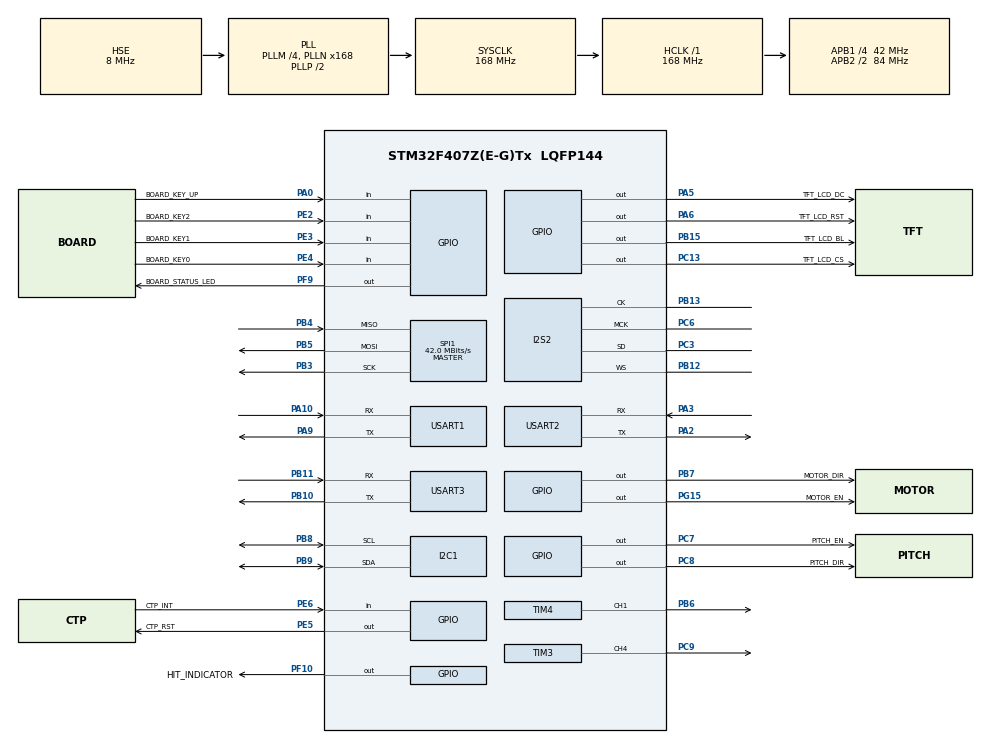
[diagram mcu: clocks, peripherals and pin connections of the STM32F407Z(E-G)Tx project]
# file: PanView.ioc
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Dma.Request0=USART1_RX
Dma.Request1=USART2_RX
Dma.Request2=SPI2_TX
Dma.SPI2_TX.2.Direction=DMA_MEMORY_TO_PERIPH
Dma.SPI2_TX.2.FIFOMode=DMA_FIFOMODE_DISABLE
Dma.SPI2_TX.2.Instance=DMA1_Stream4
Dma.SPI2_TX.2.MemDataAlignment=DMA_MDATAALIGN_HALFWORD
Dma.SPI2_TX.2.MemInc=DMA_MINC_ENABLE
Dma.SPI2_TX.2.Mode=DMA_NORMAL
Dma.SPI2_TX.2.PeriphDataAlignment=DMA_PDATAALIGN_HALFWORD
Dma.SPI2_TX.2.PeriphInc=DMA_PINC_DISABLE
Dma.SPI2_TX.2.Priority=DMA_PRIORITY_HIGH
Dma.USART1_RX.0.Direction=DMA_PERIPH_TO_MEMORY
Dma.USART1_RX.0.FIFOMode=DMA_FIFOMODE_DISABLE
Dma.USART1_RX.0.Instance=DMA2_Stream2
Dma.USART1_RX.0.MemDataAlignment=DMA_MDATAALIGN_BYTE
Dma.USART1_RX.0.MemInc=DMA_MINC_ENABLE
Dma.USART1_RX.0.Mode=DMA_NORMAL
Dma.USART1_RX.0.PeriphDataAlignment=DMA_PDATAALIGN_BYTE
Dma.USART1_RX.0.PeriphInc=DMA_PINC_DISABLE
Dma.USART1_RX.0.Priority=DMA_PRIORITY_LOW
Dma.USART2_RX.1.Direction=DMA_PERIPH_TO_MEMORY
Dma.USART2_RX.1.FIFOMode=DMA_FIFOMODE_DISABLE
Dma.USART2_RX.1.Instance=DMA1_Stream5
Dma.USART2_RX.1.MemDataAlignment=DMA_MDATAALIGN_BYTE
Dma.USART2_RX.1.MemInc=DMA_MINC_ENABLE
Dma.USART2_RX.1.Mode=DMA_NORMAL
Dma.USART2_RX.1.PeriphDataAlignment=DMA_PDATAALIGN_BYTE
Dma.USART2_RX.1.PeriphInc=DMA_PINC_DISABLE
Dma.USART2_RX.1.Priority=DMA_PRIORITY_LOW
FREERTOS.Tasks01=ArchitectureHea,24,256,StartDefaultTask,Default,NULL,Dynamic,NULL,NULL;SafetyTask,40,256,StartSafetyTask,Default,NULL,Dynamic,NULL,NULL;StepperTask,32,384,StartStepperTask,Default,NULL,Dynamic,NULL,NULL;VisionRxTask,32,512,StartVisionRxTask,Default,NULL,Dynamic,NULL,NULL;MotionTask,32,384,StartMotionTask,Default,NULL,Dynamic,NULL,NULL;InputTask,24,320,StartInputTask,Default,NULL,Dynamic,NULL,NULL;AppControlTask,24,320,StartAppControlTask,Default,NULL,Dynamic,NULL,NULL;UiTask,16,768,StartUiTask,Default,NULL,Dynamic,NULL,NULL;AudioTask,16,512,StartAudioTask,Default,NULL,Dynamic,NULL,NULL;TelemetryTask,8,512,StartTelemetryTask,Default,NULL,Dynamic,NULL,NULL
FREERTOS.configTOTAL_HEAP_SIZE=32768
I2S2.AudioFreq=I2S_AUDIOFREQ_48K
I2S2.ErrorAudioFreq=-2.34 %
I2S2.FullDuplexMode=I2S_FULLDUPLEXMODE_DISABLE
I2S2.Instance=SPI$Index
I2S2.RealAudioFreq=46.875 KHz
I2S2.VirtualMode=I2S_MODE_MASTER
Mcu.Family=STM32F4
Mcu.Name=STM32F407Z(E-G)Tx
Mcu.Package=LQFP144
NVIC.DMA1_Stream4_IRQn=true\:5\:0\:false\:false\:true\:true\:false\:true\:true
NVIC.DMA1_Stream5_IRQn=true\:5\:0\:false\:false\:true\:true\:false\:true\:true
NVIC.DMA2_Stream2_IRQn=true\:5\:0\:false\:false\:true\:true\:false\:true\:true
NVIC.PriorityGroup=NVIC_PRIORITYGROUP_4
NVIC.TIM3_IRQn=true\:5\:0\:false\:false\:true\:true\:true\:true\:true
NVIC.TIM4_IRQn=true\:5\:0\:false\:false\:true\:true\:true\:true\:true
NVIC.USART1_IRQn=true\:5\:0\:false\:false\:true\:true\:true\:true\:true
NVIC.USART2_IRQn=true\:5\:0\:false\:false\:true\:true\:true\:true\:true
PA0-WKUP.GPIO_Label=BOARD_KEY_UP
PA0-WKUP.GPIO_PuPd=GPIO_PULLDOWN
PA0-WKUP.Signal=GPIO_Input
PA10.Mode=Asynchronous
PA10.Signal=USART1_RX
PA13.Mode=Serial_Wire
PA13.Signal=SYS_JTMS-SWDIO
PA14.Mode=Serial_Wire
PA14.Signal=SYS_JTCK-SWCLK
PA2.Mode=Asynchronous
PA2.Signal=USART2_TX
PA3.GPIO_PuPd=GPIO_PULLUP
PA3.Mode=Asynchronous
PA3.Signal=USART2_RX
PA5.GPIO_Label=TFT_LCD_DC
PA5.GPIO_Speed=GPIO_SPEED_FREQ_HIGH
PA5.PinState=GPIO_PIN_SET
PA5.Signal=GPIO_Output
PA6.GPIO_Label=TFT_LCD_RST
PA6.GPIO_Speed=GPIO_SPEED_FREQ_HIGH
PA6.PinState=GPIO_PIN_SET
PA6.Signal=GPIO_Output
PA9.Mode=Asynchronous
PA9.Signal=USART1_TX
PB10.Mode=Asynchronous
PB10.Signal=USART3_TX
PB11.Mode=Asynchronous
PB11.Signal=USART3_RX
PB12.Mode=Half_Duplex_Master
PB12.Signal=I2S2_WS
PB13.Mode=Half_Duplex_Master
PB13.Signal=I2S2_CK
PB15.GPIO_Label=TFT_LCD_BL
PB15.GPIO_Speed=GPIO_SPEED_FREQ_HIGH
PB15.PinState=GPIO_PIN_SET
PB15.Signal=GPIO_Output
PB3.Mode=Full_Duplex_Master
PB3.Signal=SPI1_SCK
PB4.Mode=Full_Duplex_Master
PB4.Signal=SPI1_MISO
PB5.Mode=Full_Duplex_Master
PB5.Signal=SPI1_MOSI
PB6.Signal=S_TIM4_CH1
PB7.GPIO_Label=MOTOR_DIR
PB7.GPIO_Speed=GPIO_SPEED_FREQ_HIGH
PB7.Signal=GPIO_Output
PB8.Mode=I2C
PB8.Signal=I2C1_SCL
PB9.Mode=I2C
PB9.Signal=I2C1_SDA
PC13-ANTI_TAMP.GPIO_Label=TFT_LCD_CS
PC13-ANTI_TAMP.PinState=GPIO_PIN_SET
PC13-ANTI_TAMP.Signal=GPIO_Output
PC3.Mode=Half_Duplex_Master
PC3.Signal=I2S2_SD
PC6.Mode=Master_Clock_Activated
PC6.Signal=I2S2_MCK
PC7.GPIO_Label=PITCH_EN
PC7.GPIO_Speed=GPIO_SPEED_FREQ_HIGH
PC7.Signal=GPIO_Output
PC8.GPIO_Label=PITCH_DIR
PC8.GPIO_Speed=GPIO_SPEED_FREQ_HIGH
PC8.Signal=GPIO_Output
PC9.Signal=S_TIM3_CH4
PE2.GPIO_Label=BOARD_KEY2
PE2.GPIO_PuPd=GPIO_PULLUP
PE2.Signal=GPIO_Input
PE3.GPIO_Label=BOARD_KEY1
PE3.GPIO_PuPd=GPIO_PULLUP
PE3.Signal=GPIO_Input
PE4.GPIO_Label=BOARD_KEY0
PE4.GPIO_PuPd=GPIO_PULLUP
PE4.Signal=GPIO_Input
PE5.GPIO_Label=CTP_RST
PE5.PinState=GPIO_PIN_SET
PE5.Signal=GPIO_Output
PE6.GPIO_Label=CTP_INT
PE6.GPIO_PuPd=GPIO_PULLUP
PE6.Signal=GPIO_Input
PF10.GPIO_Label=HIT_INDICATOR
PF10.GPIO_Speed=GPIO_SPEED_FREQ_MEDIUM
PF10.Signal=GPIO_Output
PF9.GPIO_Label=BOARD_STATUS_LED
PF9.GPIO_Speed=GPIO_SPEED_FREQ_HIGH
PF9.PinState=GPIO_PIN_SET
PF9.Signal=GPIO_Output
PG15.GPIO_Label=MOTOR_EN
PG15.GPIO_Speed=GPIO_SPEED_FREQ_HIGH
PG15.Signal=GPIO_Output
PH0-OSC_IN.Mode=HSE-External-Oscillator
PH0-OSC_IN.Signal=RCC_OSC_IN
PH1-OSC_OUT.Mode=HSE-External-Oscillator
PH1-OSC_OUT.Signal=RCC_OSC_OUT
ProjectManager.HeapSize=0x200
ProjectManager.StackSize=0x400
ProjectManager.TargetToolchain=CMake
RCC.48MHZClocksFreq_Value=84000000
RCC.AHBFreq_Value=168000000
RCC.APB1CLKDivider=RCC_HCLK_DIV4
RCC.APB1Freq_Value=42000000
RCC.APB1TimFreq_Value=84000000
RCC.APB2CLKDivider=RCC_HCLK_DIV2
RCC.APB2Freq_Value=84000000
RCC.APB2TimFreq_Value=168000000
RCC.CortexFreq_Value=168000000
RCC.HCLKFreq_Value=168000000
RCC.HSE_VALUE=8000000
RCC.HSI_VALUE=16000000
RCC.LSE_VALUE=32768
RCC.PLLM=4
RCC.PLLN=168
RCC.PLLSourceVirtual=RCC_PLLSOURCE_HSE
RCC.SYSCLKFreq_VALUE=168000000
RCC.SYSCLKSource=RCC_SYSCLKSOURCE_PLLCLK
RCC.VCOOutputFreq_Value=336000000
SH.S_TIM3_CH4.0=TIM3_CH4,PWM Generation4 CH4
SH.S_TIM4_CH1.0=TIM4_CH1,PWM Generation1 CH1
SPI1.CalculateBaudRate=42.0 MBits/s
SPI1.Direction=SPI_DIRECTION_2LINES
SPI1.Mode=SPI_MODE_MASTER
SPI1.VirtualType=VM_MASTER
TIM3.Channel-PWM\ Generation4\ CH4=TIM_CHANNEL_4
TIM3.Period=9
TIM3.Prescaler=16799
TIM3.Pulse-PWM\ Generation4\ CH4=5
TIM4.Channel-PWM\ Generation1\ CH1=TIM_CHANNEL_1
TIM4.Period=9
TIM4.Prescaler=16799
TIM4.Pulse-PWM\ Generation1\ CH1=5
USART1.VirtualMode=VM_ASYNC
USART2.VirtualMode=VM_ASYNC
USART3.VirtualMode=VM_ASYNC
VP_FREERTOS_VS_CMSIS_V2.Mode=CMSIS_V2
VP_TIM4_VS_ClockSourceINT.Mode=Internal
board=custom

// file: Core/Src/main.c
/* USER CODE BEGIN Header */
/**
  ******************************************************************************
  * @file           : main.c
  * @brief          : Main program body
  ******************************************************************************
  * @attention
  *
  * Copyright (c) 2026 STMicroelectronics.
  * All rights reserved.
  *
  * This software is licensed under terms that can be found in the LICENSE file
  * in the root directory of this software component.
  * If no LICENSE file comes with this software, it is provided AS-IS.
  *
  ******************************************************************************
  */
/* USER CODE END Header */
#include "main.h"
#include "es8388.h"
#include "audio_player.h"
#include "cmsis_os.h"
#include "dma.h"
#include "i2c.h"
#include "i2s.h"
#include "iwdg.h"
#include "spi.h"
#include "tim.h"
#include "usart.h"
#include "gpio.h"
#include "ili9341.h"

void SystemClock_Config(void);
void MX_FREERTOS_Init(void);

int main(void)
{

  /* MCU Configuration--------------------------------------------------------*/

  /* Reset of all peripherals, Initializes the Flash interface and the Systick. */
  HAL_Init();

  /* Configure the system clock */
  SystemClock_Config();

  /* Initialize all configured peripherals */
  MX_GPIO_Init();
  MX_DMA_Init();
  MX_USART1_UART_Init();
  MX_USART2_UART_Init();
  MX_USART3_UART_Init();
  MX_I2C1_Init();
  MX_I2S2_Init();
  /* 音频链路需要先初始化 ES8388，再由 AudioTask 播放采样数据。 */
  AudioPlayer_Init();
  (void)Es8388_Probe();
  (void)Es8388_InitPlayback();
  MX_SPI1_Init();
  MX_TIM4_Init();
  MX_TIM3_Init();
  MX_IWDG_Init();
  /* USER CODE BEGIN 2 */

  /* T10-2 屏幕硬件冒烟测试：初始化 ILI9341 并填充蓝色背景。 */
  if (ILI9341_Init())
  {
    ILI9341_FillColor(ILI9341_COLOR_BLUE);
  }

  /* USER CODE END 2 */

  /* Init scheduler */
  osKernelInitialize();  /* Call init function for freertos objects (in cmsis_os2.c) */
  MX_FREERTOS_Init();

  /* Start scheduler */
  osKernelStart();

  /* We should never get here as control is now taken by the scheduler */

  /* Infinite loop */
  while (1)
  {

  }
}

void SystemClock_Config(void)
{
  RCC_OscInitTypeDef RCC_OscInitStruct = {0};
  RCC_ClkInitTypeDef RCC_ClkInitStruct = {0};

  /** Configure the main internal regulator output voltage
  */
  __HAL_RCC_PWR_CLK_ENABLE();
  __HAL_PWR_VOLTAGESCALING_CONFIG(PWR_REGULATOR_VOLTAGE_SCALE1);

  /** Initializes the RCC Oscillators according to the specified parameters
  * in the RCC_OscInitTypeDef structure.
  */
  RCC_OscInitStruct.OscillatorType = RCC_OSCILLATORTYPE_LSI|RCC_OSCILLATORTYPE_HSE;
  RCC_OscInitStruct.HSEState = RCC_HSE_ON;
  RCC_OscInitStruct.LSIState = RCC_LSI_ON;
  RCC_OscInitStruct.PLL.PLLState = RCC_PLL_ON;
  RCC_OscInitStruct.PLL.PLLSource = RCC_PLLSOURCE_HSE;
  RCC_OscInitStruct.PLL.PLLM = 4;
  RCC_OscInitStruct.PLL.PLLN = 168;
  RCC_OscInitStruct.PLL.PLLP = RCC_PLLP_DIV2;
  RCC_OscInitStruct.PLL.PLLQ = 4;
  if (HAL_RCC_OscConfig(&RCC_OscInitStruct) != HAL_OK)
  {
    Error_Handler();
  }

  /** Initializes the CPU, AHB and APB buses clocks
  */
  RCC_ClkInitStruct.ClockType = RCC_CLOCKTYPE_HCLK|RCC_CLOCKTYPE_SYSCLK
                              |RCC_CLOCKTYPE_PCLK1|RCC_CLOCKTYPE_PCLK2;
  RCC_ClkInitStruct.SYSCLKSource = RCC_SYSCLKSOURCE_PLLCLK;
  RCC_ClkInitStruct.AHBCLKDivider = RCC_SYSCLK_DIV1;
  RCC_ClkInitStruct.APB1CLKDivider = RCC_HCLK_DIV4;
  RCC_ClkInitStruct.APB2CLKDivider = RCC_HCLK_DIV2;

  if (HAL_RCC_ClockConfig(&RCC_ClkInitStruct, FLASH_LATENCY_5) != HAL_OK)
  {
    Error_Handler();
  }
}

void Error_Handler(void)
{
  __disable_irq();
  while (1)
  {
  }
}

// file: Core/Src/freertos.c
/* USER CODE BEGIN Header */
/**
  ******************************************************************************
  * File Name          : freertos.c
  * Description        : Code for freertos applications
  ******************************************************************************
  * @attention
  *
  * Copyright (c) 2026 STMicroelectronics.
  * All rights reserved.
  *
  * This software is licensed under terms that can be found in the LICENSE file
  * in the root directory of this software component.
  * If no LICENSE file comes with this software, it is provided AS-IS.
  *
  ******************************************************************************
  */
/* USER CODE END Header */

#include "FreeRTOS.h"
#include "task.h"
#include "main.h"
#include "cmsis_os.h"

/* USER CODE BEGIN Includes */

/* 本区域用途：添加本 freertos.c 需要使用的头文件。 */

#include "panview_task_heartbeat.h"
#include "panview_messages.h"
#include "panview_message_bus.h"
#include "panview_uart_rx.h"
#include "panview_text_line.h"
#include "panview_pv04_parser.h"
#include "panview_motion.h"
#include "panview_stepper.h"
#include "panview_safety.h"
#include "panview_safety_test.h"
#include "ili9341.h"
#include "panview_ui.h"
#include "ft6336g.h"
#include "audio_player.h"
#include "panview_telemetry.h"
#include "tim.h"
#include "iwdg.h"
#include "usart.h"
#include <stdio.h>
#include <string.h>

/* 栈溢出时由 FreeRTOS 钩子写入，调试器可直接查看。 */
volatile uint32_t panview_stack_overflow_marker = 0U;
volatile const char *panview_stack_overflow_task_name = 0;

/* MotionTask 写入、UiTask 读取的最新视觉显示数据。 */
volatile uint8_t panview_ui_target_present = 0U;
volatile int16_t panview_ui_error_x_px = 0;
volatile int16_t panview_ui_error_y_px = 0;

/* USER CODE END Includes */

/* USER CODE BEGIN PTD */

/* 本区域用途：定义本文件使用的类型、枚举和结构体。 */

/* USER CODE END PTD */

/* USER CODE BEGIN PD */

/* 本区域用途：定义宏、周期、容量和其他编译期常量。 */

/* 架构心跳任务每次运行之间的等待时间，单位：毫秒。 */
#define ARCHITECTURE_HEARTBEAT_PERIOD_MS (500U)

/* 安全任务的计划周期，单位：RTOS tick。当前 10 tick 等于 10 ms。 */
#define SAFETY_TASK_PERIOD_TICKS (10U)

/* 视觉接收任务的骨架运行周期，单位：RTOS tick。 */
#define VISION_RX_TASK_PERIOD_TICKS (10U)

/* 运动任务的骨架运行周期，单位：RTOS tick。 */
#define MOTION_TASK_PERIOD_TICKS (10U)
#define CONTROL_TASK_TIMEOUT_MS (200U)

/* 步进执行任务的骨架运行周期，单位：RTOS tick。 */
#define STEPPER_TASK_PERIOD_TICKS (10U)

/* 输入任务的骨架运行周期，单位：RTOS tick。当前 20 tick 等于 20 ms。 */
#define INPUT_TASK_PERIOD_TICKS (20U)

/* 应用控制任务的骨架运行周期，单位：RTOS tick。 */
#define APP_CONTROL_TASK_PERIOD_TICKS (20U)

/* UI 任务的骨架运行周期，单位：RTOS tick。当前 100 tick 等于 100 ms。 */
#define UI_TASK_PERIOD_TICKS (100U)

/* 音频指示任务的骨架运行周期，单位：RTOS tick。 */
#define AUDIO_TASK_PERIOD_TICKS (100U)

/* 遥测任务的骨架运行周期，单位：RTOS tick。当前 500 tick 等于 500 ms。 */
#define TELEMETRY_TASK_PERIOD_TICKS (500U)

/* USER CODE END PD */

/* USER CODE BEGIN PM */

/* 本区域用途：定义本文件专用的宏函数。当前任务暂时不需要新增内容。 */

/* USER CODE END PM */

/* USER CODE BEGIN Variables */

/* 本区域用途：定义本文件使用的全局或静态状态变量。 */

/* 记录最近一次检查到的 FreeRTOS 剩余堆空间，单位：字节。 */
static volatile size_t telemetry_free_heap_bytes;

/* 系统事件标志组的句柄，用于保存后续的故障和紧急状态。 */
static osEventFlagsId_t SystemEventFlagsHandle;

/* 系统事件标志组的创建属性。 */
static const osEventFlagsAttr_t SystemEventFlags_attributes = {
  .name = "SystemEventFlags"
};

/* USER CODE END Variables */
/* Definitions for ArchitectureHea */
osThreadId_t ArchitectureHeaHandle;
const osThreadAttr_t ArchitectureHea_attributes = {
  .name = "ArchitectureHea",
  .stack_size = 256 * 4,
  .priority = (osPriority_t) osPriorityNormal,
};
/* Definitions for SafetyTask */
osThreadId_t SafetyTaskHandle;
const osThreadAttr_t SafetyTask_attributes = {
  .name = "SafetyTask",
  .stack_size = 256 * 4,
  .priority = (osPriority_t) osPriorityHigh,
};
/* Definitions for StepperTask */
osThreadId_t StepperTaskHandle;
const osThreadAttr_t StepperTask_attributes = {
  .name = "StepperTask",
  .stack_size = 384 * 4,
  .priority = (osPriority_t) osPriorityAboveNormal,
};
/* Definitions for VisionRxTask */
osThreadId_t VisionRxTaskHandle;
const osThreadAttr_t VisionRxTask_attributes = {
  .name = "VisionRxTask",
  .stack_size = 1024 * 4,
  .priority = (osPriority_t) osPriorityAboveNormal,
};
/* Definitions for MotionTask */
osThreadId_t MotionTaskHandle;
const osThreadAttr_t MotionTask_attributes = {
  .name = "MotionTask",
  .stack_size = 384 * 4,
  .priority = (osPriority_t) osPriorityAboveNormal,
};
/* Definitions for InputTask */
osThreadId_t InputTaskHandle;
const osThreadAttr_t InputTask_attributes = {
  .name = "InputTask",
  .stack_size = 320 * 4,
  .priority = (osPriority_t) osPriorityNormal,
};
/* Definitions for AppControlTask */
osThreadId_t AppControlTaskHandle;
const osThreadAttr_t AppControlTask_attributes = {
  .name = "AppControlTask",
  .stack_size = 320 * 4,
  .priority = (osPriority_t) osPriorityNormal,
};
/* Definitions for UiTask */
osThreadId_t UiTaskHandle;
const osThreadAttr_t UiTask_attributes = {
  .name = "UiTask",
  .stack_size = 768 * 4,
  .priority = (osPriority_t) osPriorityBelowNormal,
};
/* Definitions for AudioTask */
osThreadId_t AudioTaskHandle;
const osThreadAttr_t AudioTask_attributes = {
  .name = "AudioTask",
  .stack_size = 512 * 4,
  .priority = (osPriority_t) osPriorityBelowNormal,
};
/* Definitions for TelemetryTask */
osThreadId_t TelemetryTaskHandle;
const osThreadAttr_t TelemetryTask_attributes = {
  .name = "TelemetryTask",
  .stack_size = 512 * 4,
  .priority = (osPriority_t) osPriorityLow,
};

/* USER CODE BEGIN FunctionPrototypes */

/* 本区域用途：声明本文件中由后文实现的静态函数。 */
static void ArchitectureHeartbeat_RunOnce(void);

/* USER CODE END FunctionPrototypes */

void StartDefaultTask(void *argument);
void StartSafetyTask(void *argument);
void StartStepperTask(void *argument);
void StartVisionRxTask(void *argument);
void StartMotionTask(void *argument);
void StartInputTask(void *argument);
void StartAppControlTask(void *argument);
void StartUiTask(void *argument);
void StartAudioTask(void *argument);
void StartTelemetryTask(void *argument);

void MX_FREERTOS_Init(void); /* (MISRA C 2004 rule 8.1) */

void MX_FREERTOS_Init(void) {
  /* USER CODE BEGIN Init */

  /* 本区域用途：放置 FreeRTOS 对象创建前的一次性初始化逻辑。 */

  /* USER CODE END Init */

  /* USER CODE BEGIN RTOS_MUTEX */
  /* 本区域用途：创建互斥锁，用于保护不可并发访问的共享资源。 */
  /* add mutexes, ... */
  /* USER CODE END RTOS_MUTEX */

  /* USER CODE BEGIN RTOS_SEMAPHORES */
  /* 本区域用途：创建二值信号量或计数信号量，用于同步事件或资源计数。 */
  /* add semaphores, ... */
  /* USER CODE END RTOS_SEMAPHORES */

  /* USER CODE BEGIN RTOS_TIMERS */
  /* 本区域用途：创建或启动 FreeRTOS 软件定时器。 */
  /* start timers, add new ones, ... */
  /* USER CODE END RTOS_TIMERS */

  /* USER CODE BEGIN RTOS_QUEUES */
  /* 本区域用途：创建任务间消息队列，定义消息容量和消息大小。 */
  /* add queues, ... */
  /* USER CODE END RTOS_QUEUES */

  /* Create the thread(s) */
  /* creation of ArchitectureHea */
  ArchitectureHeaHandle = osThreadNew(StartDefaultTask, NULL, &ArchitectureHea_attributes);

  /* creation of SafetyTask */
  SafetyTaskHandle = osThreadNew(StartSafetyTask, NULL, &SafetyTask_attributes);

  /* creation of StepperTask */
  StepperTaskHandle = osThreadNew(StartStepperTask, NULL, &StepperTask_attributes);

  /* creation of VisionRxTask */
  VisionRxTaskHandle = osThreadNew(StartVisionRxTask, NULL, &VisionRxTask_attributes);

  /* creation of MotionTask */
  MotionTaskHandle = osThreadNew(StartMotionTask, NULL, &MotionTask_attributes);

  /* creation of InputTask */
  InputTaskHandle = osThreadNew(StartInputTask, NULL, &InputTask_attributes);

  /* creation of AppControlTask */
  AppControlTaskHandle = osThreadNew(StartAppControlTask, NULL, &AppControlTask_attributes);

  /* creation of UiTask */
  UiTaskHandle = osThreadNew(StartUiTask, NULL, &UiTask_attributes);

  /* creation of AudioTask */
  AudioTaskHandle = osThreadNew(StartAudioTask, NULL, &AudioTask_attributes);

  /* creation of TelemetryTask */
  TelemetryTaskHandle = osThreadNew(StartTelemetryTask, NULL, &TelemetryTask_attributes);

  /* USER CODE BEGIN RTOS_THREADS */
  /* 本区域用途：创建 CubeMX 未生成的额外任务，或补充任务创建后的检查。 */
  /* add threads, ... */
  /* USER CODE END RTOS_THREADS */

  /* USER CODE BEGIN RTOS_EVENTS */
  /* 本区域用途：创建事件标志组，或设置 RTOS 启动阶段的事件状态。 */

  /* 创建系统事件标志组，后续用于保存各类故障和紧急状态。 */
  SystemEventFlagsHandle = osEventFlagsNew(&SystemEventFlags_attributes);

  /* 初始化消息总线；本步暂不由任务发送或读取视觉结果。 */
  (void)PanView_MessageBus_Init();
  /* 初始化并启动 K230 串口接收。 */
  PanView_UartRx_Init();
  (void)PanView_UartRx_Start();

  /* USER CODE END RTOS_EVENTS */

}

void StartDefaultTask(void *argument)
{
  /* USER CODE BEGIN StartDefaultTask */
  /* 本区域用途：编写该任务的初始化动作和永久循环逻辑。 */
  /* 当前任务没有使用传入参数，显式标记可以避免编译器警告。 */
  (void)argument;

  for(;;)
  {
    /* 执行一次架构心跳动作。 */
    ArchitectureHeartbeat_RunOnce();

    /* 等待一个完整周期后再运行下一次。 */
    osDelay(ARCHITECTURE_HEARTBEAT_PERIOD_MS);
  }
  /* USER CODE END StartDefaultTask */
}

void StartSafetyTask(void *argument)
{
  /* USER CODE BEGIN StartSafetyTask */
  /* 本区域用途：编写安全任务的初始化动作和永久循环逻辑。 */
  /* 当前任务没有使用传入参数，显式标记可以避免编译器警告。 */
  (void)argument;

  /* 保存下一轮安全任务计划开始运行的 RTOS tick。 */
  uint32_t next_wake_tick = osKernelGetTickCount();
  PanViewSafetyStatus safety_status;
  const volatile PanViewHeartbeatRecord *motion_heartbeat;
  PanViewStepperStatus safety_stepper_status;
  PanView_Safety_Init();

  /* Infinite loop */
  for(;;)
  {
#if 1
    motion_heartbeat = PanView_TaskHeartbeat_Get(PANVIEW_HEARTBEAT_MOTION);
    if ((motion_heartbeat != 0) && (motion_heartbeat->count > 0U) &&
        ((uint32_t)(HAL_GetTick() - motion_heartbeat->last_tick) >
         CONTROL_TASK_TIMEOUT_MS))
    {
      PanView_Safety_RaiseFault(PANVIEW_SAFETY_CONTROL_TASK_STALE,
                                HAL_GetTick());
    }

#endif

#if 1
    PanView_Stepper_GetStatus(&safety_stepper_status);
    if (((safety_stepper_status.pan_position_steps >= 800) &&
         (safety_stepper_status.pan_applied_speed_steps_per_second > 0)) ||
        ((safety_stepper_status.pan_position_steps <= -800) &&
         (safety_stepper_status.pan_applied_speed_steps_per_second < 0)) ||
        ((safety_stepper_status.pitch_position_steps >= 800) &&
         (safety_stepper_status.pitch_applied_speed_steps_per_second > 0)) ||
        ((safety_stepper_status.pitch_position_steps <= -800) &&
         (safety_stepper_status.pitch_applied_speed_steps_per_second < 0)))
    {
      PanView_Safety_RaiseFault(PANVIEW_SAFETY_SOFTWARE_LIMIT,
                                HAL_GetTick());
    }
#endif

    /* 统一安全停机路径：发生锁存故障时立即停止步进执行。 */
#if 1
    PanView_Safety_GetStatus(&safety_status);
    if (safety_status.latched != 0U)
    {
      PanView_Stepper_SafetyStop();
    }
#endif

    /* SafetyTask 正常运行时周期性喂狗；若任务失活，IWDG 将复位芯片。 */
    (void)HAL_IWDG_Refresh(&hiwdg);

    /* 执行一次安全任务的最小心跳动作。 */
    PanView_TaskHeartbeat_Update(PANVIEW_HEARTBEAT_SAFETY,
                                 HAL_GetTick());

    /* 计算下一轮的计划时刻，保持任务按固定节拍运行。 */
    next_wake_tick += SAFETY_TASK_PERIOD_TICKS;

    /* 挂起当前任务，直到到达下一轮的计划时刻。 */
    osDelayUntil(next_wake_tick);
  }
  /* USER CODE END StartSafetyTask */
}

/* USER CODE BEGIN Header_StartStepperTask */
/**
* @brief Function implementing the StepperTask thread.
* @param argument: Not used
* @retval None吗，
*/
/* USER CODE END Header_StartStepperTask */
void StartStepperTask(void *argument)
{
  /* USER CODE BEGIN StartStepperTask */
  (void)argument;

  uint32_t next_wake_tick = osKernelGetTickCount();
  uint32_t last_stepper_log_tick = 0U;
  MotionCommand latest_command;
  PanViewStepperStatus stepper_status;
  GPIO_PinState previous_key_up_state = GPIO_PIN_RESET;
  uint32_t last_key_up_tick = HAL_GetTick() - 200U;

  (void)memset(&latest_command, 0, sizeof(latest_command));
  PanView_Stepper_Init();

  for(;;)
  {
    GPIO_PinState key_up_state =
        HAL_GPIO_ReadPin(BOARD_KEY_UP_GPIO_Port, BOARD_KEY_UP_Pin);

    /*
     * KEY_UP 只报告一次有效按下：第一次确认零点并开始，再按则暂停。
     * 200 ms 防抖可避免一次机械按键抖动被误认为连续两次切换。
     */
    if ((key_up_state == GPIO_PIN_SET) &&
        (previous_key_up_state == GPIO_PIN_RESET) &&
        ((uint32_t)(HAL_GetTick() - last_key_up_tick) >= 200U))
    {
      PanView_Stepper_ToggleSystemRun();
      last_key_up_tick = HAL_GetTick();
    }
    previous_key_up_state = key_up_state;

    /* StepperTask 只传递命令，速度渐变和硬件执行由步进模块负责。 */
    (void)PanView_MessageBus_ReadMotionCommand(&latest_command);
    PanView_Stepper_Execute(&latest_command);
    PanView_Stepper_GetStatus(&stepper_status);

    if (0 && ((uint32_t)(HAL_GetTick() - last_stepper_log_tick) >= 500U))
    {
      char stepper_log[128];
      int32_t pan_angle_deg =
          (stepper_status.pan_position_steps * 90) / 800;
      int32_t pitch_angle_deg =
          (stepper_status.pitch_position_steps * 90) / 800;
      int stepper_log_length = snprintf(
          stepper_log, sizeof(stepper_log),
          "T07 run=%u v=%u pt=%ld pa=%ld qt=%ld qa=%ld pr=%u qr=%u x=%ld y=%ld "
          "pan_deg=%ld pitch_deg=%ld\r\n",
          stepper_status.system_running,
          latest_command.valid,
          (long)latest_command.pan_speed_steps_per_second,
          (long)stepper_status.pan_applied_speed_steps_per_second,
          (long)latest_command.pitch_speed_steps_per_second,
          (long)stepper_status.pitch_applied_speed_steps_per_second,
          stepper_status.pan_running,
          stepper_status.pitch_running,
          (long)stepper_status.pan_position_steps,
          (long)stepper_status.pitch_position_steps,
          (long)pan_angle_deg,
          (long)pitch_angle_deg);

      last_stepper_log_tick = HAL_GetTick();
      if ((stepper_log_length > 0) &&
          (stepper_log_length < (int)sizeof(stepper_log)))
      {
        (void)HAL_UART_Transmit(&huart1, (uint8_t *)stepper_log,
                                (uint16_t)stepper_log_length, 20U);
      }
    }

    PanView_TaskHeartbeat_Update(PANVIEW_HEARTBEAT_STEPPER, HAL_GetTick());
    next_wake_tick += STEPPER_TASK_PERIOD_TICKS;
    osDelayUntil(next_wake_tick);
  }
  /* USER CODE END StartStepperTask */
}

void StartVisionRxTask(void *argument)
{
  /* USER CODE BEGIN StartVisionRxTask */
  /* 本区域用途：编写视觉接收任务的初始化动作和永久循环逻辑。 */
  /* 当前任务没有使用传入参数，显式标记可以避免编译器警告。 */
  (void)argument;

  /* 保存下一轮视觉接收任务计划开始运行的 RTOS tick。 */
  uint32_t next_wake_tick = osKernelGetTickCount();
  uint8_t received_data[PANVIEW_UART_RX_BUFFER_SIZE];
  PanViewTextLineAccumulator line_accumulator;
  char line[PANVIEW_TEXT_LINE_CAPACITY];
  VisionResult vision_result;
  uint32_t last_log_tick = 0U;

  PanView_TextLine_Init(&line_accumulator);

  /* Infinite loop */
  for(;;)
  {
    /* 暂时只消费串口通知，真正的文本解析放到后续步骤。 */
    (void)osThreadFlagsWait(PANVIEW_UART_RX_FLAG_DATA_READY, osFlagsWaitAny, 0U);

    /* 把环形缓冲区中当前积压的字节全部取走。 */
    uint16_t received_length;

    while ((received_length = PanView_UartRx_Read(
                received_data, sizeof(received_data))) > 0U)
    {
      uint16_t i;

      for (i = 0U; i < received_length; i++)
      {
        if (PanView_TextLine_FeedByte(&line_accumulator, received_data[i],
                                      line, sizeof(line)) != 0U)
        {
          if (PanView_Pv04_Parse(line, &vision_result) != 0U)
          {
            vision_result.received_tick_ms = HAL_GetTick();
            (void)PanView_MessageBus_PublishVisionResult(&vision_result);
            uint32_t now = HAL_GetTick();
            if (0 && ((uint32_t)(now - last_log_tick) >= 500U))
            {
              char uart_log[160];
              int log_length;
              PanViewUartRxBuffer *uart_rx = PanView_UartRx_GetBuffer();

              last_log_tick = now;
              log_length = snprintf(
                  uart_log, sizeof(uart_log),
                  "PV05_OK t_ms=%lu target=%u count=%u cx=%d cy=%d rx_chunks=%lu rx_bytes=%lu\r\n",
                  (unsigned long)vision_result.source_timestamp_ms,
                  vision_result.target_present,
                  vision_result.target_count,
                  (int)vision_result.center_x_px,
                  (int)vision_result.center_y_px,
                  (unsigned long)uart_rx->chunk_count,
                  (unsigned long)uart_rx->received_byte_count);

              if ((log_length > 0) && (log_length < (int)sizeof(uart_log)))
              {
                (void)HAL_UART_Transmit(&huart1, (uint8_t *)uart_log,
                                        (uint16_t)log_length, 20U);
              }
            }
          }
        }
      }
    }

    /* 记录 VisionRxTask 历史最低剩余栈空间，单位是 Words。 */
    PanView_TaskHeartbeat_UpdateStack(
        PANVIEW_HEARTBEAT_VISION_RX,
        (uint32_t)uxTaskGetStackHighWaterMark(NULL));

    /* 执行一次视觉接收任务的最小心跳动作。 */
    PanView_TaskHeartbeat_Update(PANVIEW_HEARTBEAT_VISION_RX,
                                 HAL_GetTick());

    /* 计算下一轮的计划时刻，保持任务按固定节拍运行。 */
    next_wake_tick += VISION_RX_TASK_PERIOD_TICKS;

    /* 暂时按固定周期运行，后续接入 UART 后会改为等待收包通知。 */
    osDelayUntil(next_wake_tick);
  }
  /* USER CODE END StartVisionRxTask */
}

void StartMotionTask(void *argument)
{
  /* USER CODE BEGIN StartMotionTask */
  (void)argument;

  uint32_t next_wake_tick = osKernelGetTickCount();
  VisionResult latest_vision;
  MotionCommand motion_command;
  int16_t error_x_px;
  int16_t error_y_px;
  /* 诊断文本较长，使用任务独占的静态缓冲区，避免额外占用任务栈。 */
  static char vision_log[192];

  (void)memset(&latest_vision, 0, sizeof(latest_vision));
  (void)memset(&motion_command, 0, sizeof(motion_command));

  for(;;)
  {
    /*
     * 干净调参基线：
     * 只读取最新视觉结果，再由运动模块生成纯 P 命令。
     * 此处不再叠加坐标限幅、目标防抖、锁定滞回和二次速度斜率。
     */
    int vision_read_result =
        PanView_MessageBus_ReadVisionResult(&latest_vision);
    PanView_Motion_CalculateError(&latest_vision, &error_x_px, &error_y_px);
    PanView_Motion_CreateCommand(&latest_vision, HAL_GetTick(),
                                 &motion_command);
    panview_ui_target_present = latest_vision.target_present;
    panview_ui_error_x_px = error_x_px;
    panview_ui_error_y_px = error_y_px;
    (void)PanView_MessageBus_PublishMotionCommand(&motion_command);

    /*
     * 只在真正读到一份新视觉结果时打印，避免重复打印旧数据。
     * 同一行同时保留输入坐标、计算误差和输出命令，便于判断突变
     * 最先发生在视觉输入、运动计算还是电机执行之前。
     */
    /* 暂时关闭 VISION_NEW 串口诊断输出，保留后续排查代码。 */
    if (0 && (vision_read_result == 0))
    {
      int vision_log_length = snprintf(
          vision_log, sizeof(vision_log),
          "VISION_NEW src=%lu rx=%lu target=%u count=%u cx=%d cy=%d "
          "err_x=%d err_y=%d pan=%ld pitch=%ld\r\n",
          (unsigned long)latest_vision.source_timestamp_ms,
          (unsigned long)latest_vision.received_tick_ms,
          latest_vision.target_present,
          latest_vision.target_count,
          (int)latest_vision.center_x_px,
          (int)latest_vision.center_y_px,
          error_x_px,
          error_y_px,
          (long)motion_command.pan_speed_steps_per_second,
          (long)motion_command.pitch_speed_steps_per_second);

      if ((vision_log_length > 0) &&
          (vision_log_length < (int)sizeof(vision_log)))
      {
        (void)HAL_UART_Transmit(&huart1, (uint8_t *)vision_log,
                                (uint16_t)vision_log_length, 20U);
      }
    }

    PanView_TaskHeartbeat_Update(PANVIEW_HEARTBEAT_MOTION, HAL_GetTick());
    next_wake_tick += MOTION_TASK_PERIOD_TICKS;
    osDelayUntil(next_wake_tick);
  }
  /* USER CODE END StartMotionTask */
}

void StartInputTask(void *argument)
{
  /* USER CODE BEGIN StartInputTask */
  /* 本区域用途：编写输入任务的初始化动作和永久循环逻辑。 */
  /* 当前任务没有使用传入参数，显式标记可以避免编译器警告。 */
  (void)argument;

  /* 保存下一轮输入任务计划开始运行的 RTOS tick。 */
  uint32_t next_wake_tick = osKernelGetTickCount();
  GPIO_PinState previous_key0_state = GPIO_PIN_SET;
  Ft6336gPoint previous_touch = {0};
  /* 触摸芯片只在任务启动时初始化一次。 */
  const bool touch_polling_enabled = FT6336G_Init();

  /* Infinite loop */
  for(;;)
  {
    /* KEY0 使用上拉输入，按下时为低电平；下降沿注入一次软件急停。 */
    GPIO_PinState key0_state =
        HAL_GPIO_ReadPin(BOARD_KEY0_GPIO_Port, BOARD_KEY0_Pin);
    if ((key0_state == GPIO_PIN_RESET) &&
        (previous_key0_state == GPIO_PIN_SET))
    {
      PanView_SafetyTest_InjectEmergencyStop(HAL_GetTick());
    }
    previous_key0_state = key0_state;

    /* 触摸屏只在“未按下 -> 按下”时发布一次 START/STOP 事件。 */
    Ft6336gPoint touch_point;
    if (touch_polling_enabled && FT6336G_ReadPoint(&touch_point))
    {
      const bool touch_pressed = (touch_point.touch_count > 0U);
      const bool was_pressed = (previous_touch.touch_count > 0U);
      if (touch_pressed && !was_pressed)
      {
        /* 旧工程显示旋转 180 度，FT6336G 原始坐标也要反向映射到 240x320。 */
        const uint16_t screen_x = (touch_point.x <= 239U)
                                      ? (uint16_t)(239U - touch_point.x)
                                      : 0U;
        const uint16_t screen_y = (touch_point.y <= 319U)
                                      ? (uint16_t)(319U - touch_point.y)
                                      : 0U;
        const UiEvent ui_event = PanViewUi_HandleTouch(
            screen_x, screen_y, true);
        InputEvent input_event;
        input_event.occurred_tick_ms = HAL_GetTick();
        if (ui_event == UI_EVENT_START)
        {
          input_event.type = PANVIEW_INPUT_EVENT_START_REQUEST;
          (void)PanView_MessageBus_PublishInputEvent(&input_event);
        }
        else if (ui_event == UI_EVENT_STOP)
        {
          input_event.type = PANVIEW_INPUT_EVENT_STOP_REQUEST;
          (void)PanView_MessageBus_PublishInputEvent(&input_event);
        }
      }
      previous_touch = touch_point;
    }

    /* 执行一次输入任务的最小心跳动作。 */
    PanView_TaskHeartbeat_Update(PANVIEW_HEARTBEAT_INPUT,
                                 HAL_GetTick());

    /* 计算下一轮的计划时刻，保持输入扫描按固定节拍运行。 */
    next_wake_tick += INPUT_TASK_PERIOD_TICKS;

    /* 暂时按固定周期运行，后续接入按键和触摸后再扩展采样逻辑。 */
    osDelayUntil(next_wake_tick);
  }
  /* USER CODE END StartInputTask */
}

void StartAppControlTask(void *argument)
{
  /* USER CODE BEGIN StartAppControlTask */
  /* 本区域用途：编写应用控制任务的初始化动作和永久循环逻辑。 */
  /* 当前任务没有使用传入参数，显式标记可以避免编译器警告。 */
  (void)argument;

  /* 保存下一轮应用控制任务计划开始运行的 RTOS tick。 */
  uint32_t next_wake_tick = osKernelGetTickCount();

  /* Infinite loop */
  for(;;)
  {
    /* 执行一次应用控制任务的最小心跳动作。 */
    PanView_TaskHeartbeat_Update(PANVIEW_HEARTBEAT_APP_CONTROL,
                                 HAL_GetTick());

    /* 计算下一轮的计划时刻，保持应用控制按固定节拍运行。 */
    next_wake_tick += APP_CONTROL_TASK_PERIOD_TICKS;

    /* 暂时按固定周期运行，后续接入输入事件队列后再改为等待事件。 */
    osDelayUntil(next_wake_tick);
  }
  /* USER CODE END StartAppControlTask */
}

void StartUiTask(void *argument)
{
  /* USER CODE BEGIN StartUiTask */
  /* 本区域用途：编写 UI 任务的初始化动作和永久循环逻辑。 */
  /* 当前任务没有使用传入参数，显式标记可以避免编译器警告。 */
  (void)argument;

  /* 保存下一轮 UI 任务计划开始运行的 RTOS tick。 */
  uint32_t next_wake_tick = osKernelGetTickCount();
  PanViewUiData ui_data;
  PanViewVisualState previous_visual_state = PANVIEW_VISUAL_STATE_SEARCH;
  (void)memset(&ui_data, 0, sizeof(ui_data));
  ui_data.state = UI_STATE_SEARCH;
  ui_data.tft_ready = true;
  PanViewUi_Init(UI_LANGUAGE_EN);

  /* Infinite loop */
  for(;;)
  {
    /* 应用控制任务统一决定系统是否启动或停止。 */
    InputEvent input_event;
    while (PanView_MessageBus_ReadInputEvent(&input_event) == 0)
    {
      if (input_event.type == PANVIEW_INPUT_EVENT_START_REQUEST)
      {
        PanView_Stepper_ToggleSystemRun();
      }
      else if (input_event.type == PANVIEW_INPUT_EVENT_STOP_REQUEST)
      {
        PanView_Stepper_SafetyStop();
      }
    }

    /* T10-5：读取步进模块只读状态，更新 UI 的运行状态和位置数据。 */
    PanViewStepperStatus ui_stepper_status;
    PanView_Stepper_GetStatus(&ui_stepper_status);
    ui_data.running = (ui_stepper_status.system_running != 0U);
    ui_data.target_present = (panview_ui_target_present != 0U);
    ui_data.error_x = panview_ui_error_x_px;
    ui_data.error_y = panview_ui_error_y_px;
    const bool limit_fault = (ui_stepper_status.pan_limit_active != 0U) ||
                             (ui_stepper_status.pitch_limit_active != 0U);
    const bool target_hit = ui_data.target_present &&
                            (ui_data.error_x <= PANVIEW_MOTION_LOCK_ENTER_PX) &&
                            (ui_data.error_x >= -PANVIEW_MOTION_LOCK_ENTER_PX) &&
                            (ui_data.error_y <= PANVIEW_MOTION_LOCK_ENTER_PX) &&
                            (ui_data.error_y >= -PANVIEW_MOTION_LOCK_ENTER_PX);
    ui_data.state = limit_fault ? UI_STATE_FAULT :
                    (target_hit ? UI_STATE_LOCKED :
                     (ui_data.target_present ? UI_STATE_TRACKING : UI_STATE_SEARCH));
    if ((ui_data.state == UI_STATE_LOCKED) &&
        (previous_visual_state != PANVIEW_VISUAL_STATE_LOCKED))
    {
      IndicatorEvent hit_event = { PANVIEW_INDICATOR_EVENT_TARGET_LOCKED, HAL_GetTick() };
      (void)PanView_MessageBus_PublishIndicatorEvent(&hit_event);
    }
    previous_visual_state = (PanViewVisualState)ui_data.state;
    ui_data.pan_position = ui_stepper_status.pan_position_steps;
    ui_data.pitch_position = ui_stepper_status.pitch_position_steps;
    ui_data.pan_speed = ui_stepper_status.pan_applied_speed_steps_per_second;
    ui_data.pitch_speed = ui_stepper_status.pitch_applied_speed_steps_per_second;
    /* 由 UI 模块按 500 ms 周期只刷新运行页的动态区域。 */
    PanViewUi_Refresh(&ui_data, HAL_GetTick());

    /* 执行一次 UI 任务的最小心跳动作。 */
    PanView_TaskHeartbeat_Update(PANVIEW_HEARTBEAT_UI,
                                 HAL_GetTick());

    /* 计算下一轮的计划时刻，保持 UI 刷新按较低频率运行。 */
    next_wake_tick += UI_TASK_PERIOD_TICKS;

    /* 暂时按固定周期运行，后续接入 TFT 后再扩展显示逻辑。 */
    osDelayUntil(next_wake_tick);
  }
  /* USER CODE END StartUiTask */
}

void StartAudioTask(void *argument)
{
  /* USER CODE BEGIN StartAudioTask */
  /* 本区域用途：编写音频指示任务的初始化动作和永久循环逻辑。 */
  /* 当前任务没有使用传入参数，显式标记可以避免编译器警告。 */
  (void)argument;

  /* 保存下一轮音频指示任务计划开始运行的 RTOS tick。 */
  uint32_t next_wake_tick = osKernelGetTickCount();
  AudioPlayer_Init();
  HAL_GPIO_WritePin(HIT_INDICATOR_GPIO_Port, HIT_INDICATOR_Pin, GPIO_PIN_RESET);

  /* Infinite loop */
  for(;;)
  {
    IndicatorEvent indicator_event;
    while (PanView_MessageBus_ReadIndicatorEvent(&indicator_event) == 0)
    {
      if (indicator_event.type == PANVIEW_INDICATOR_EVENT_TARGET_LOCKED)
      {
        if (AudioPlayer_Play(PANVIEW_AUDIO_HIT))
        {
          /* 音频开始播放时点亮 PF10 命中指示灯。 */
          HAL_GPIO_WritePin(HIT_INDICATOR_GPIO_Port, HIT_INDICATOR_Pin,
                           GPIO_PIN_SET);
        }
      }
    }

    /* DMA 播放结束后，播放器会清除 busy 标志，此时同步熄灭指示灯。 */
    if (!AudioPlayer_IsBusy())
    {
      HAL_GPIO_WritePin(HIT_INDICATOR_GPIO_Port, HIT_INDICATOR_Pin,
                       GPIO_PIN_RESET);
    }
    /* 执行一次音频指示任务的最小心跳动作。 */
    PanView_TaskHeartbeat_Update(PANVIEW_HEARTBEAT_AUDIO,
                                 HAL_GetTick());

    /* 计算下一轮的计划时刻，保持低优先级任务按固定节拍运行。 */
    next_wake_tick += AUDIO_TASK_PERIOD_TICKS;

    /* 暂时按固定周期运行，后续接入音效事件后再改为等待事件。 */
    osDelayUntil(next_wake_tick);
  }
  /* USER CODE END StartAudioTask */
}

void StartTelemetryTask(void *argument)
{
  /* USER CODE BEGIN StartTelemetryTask */
  /* 本区域用途：编写遥测任务的初始化动作和永久循环逻辑。 */
  /* 当前任务没有使用传入参数，显式标记可以避免编译器警告。 */
  (void)argument;

  /* 保存下一轮遥测任务计划开始运行的 RTOS tick。 */
  uint32_t next_wake_tick = osKernelGetTickCount();
  uint8_t uart_log_divider = 0U;
  char uart_log[512];

  /* Infinite loop */
  for(;;)
  {
    /* 读取当前 FreeRTOS 尚未使用的堆空间，供调试器观察。 */
    PanViewTelemetrySnapshot telemetry;
    telemetry_free_heap_bytes = xPortGetFreeHeapSize();

    /* 由心跳模块统一读取所有任务的栈余量和 RTOS 状态。 */
    PanView_TaskHeartbeat_CollectRuntimeInfo();

    /* 执行一次遥测任务的最小心跳动作。 */
    PanView_TaskHeartbeat_Update(PANVIEW_HEARTBEAT_TELEMETRY,
                                 HAL_GetTick());

    /* TelemetryTask 每 500 ms 运行一次，两次循环输出一条 T04 状态。 */
    uart_log_divider++;
    if (uart_log_divider >= 2U)
    {
      int uart_log_length;

      uart_log_divider = 0U;
      PanView_Telemetry_Collect(&telemetry);
      uart_log_length = PanView_Telemetry_Format(&telemetry, uart_log, sizeof(uart_log));

      /* 日志从 USART1 输出，最长等待 20 ms，避免长期阻塞遥测任务。 */
      if ((uart_log_length > 0) && (uart_log_length < (int)sizeof(uart_log)))
      {
        (void)HAL_UART_Transmit(&huart1, (uint8_t *)uart_log,
                                (uint16_t)uart_log_length, 20U);
      }
    }

    /* 计算下一轮的计划时刻，保持低优先级遥测按较低频率运行。 */
    next_wake_tick += TELEMETRY_TASK_PERIOD_TICKS;

    /* 暂时按固定周期运行，后续接入日志和统计后再扩展发送逻辑。 */
    osDelayUntil(next_wake_tick);
  }
  /* USER CODE END StartTelemetryTask */
}

/* USER CODE BEGIN Application */

/* 本区域用途：实现本文件中已声明的静态辅助函数和应用级 RTOS 辅助逻辑。 */
static void ArchitectureHeartbeat_RunOnce(void)
{
  /* 读取当前系统运行时间，单位：毫秒。 */
  uint32_t current_tick = HAL_GetTick();

  /* 将本任务的运行记录交给统一心跳模块保存。 */
  PanView_TaskHeartbeat_Update(PANVIEW_HEARTBEAT_ARCHITECTURE,
                               current_tick);

  /* 翻转状态灯，表示任务仍在正常运行。 */
  HAL_GPIO_TogglePin(BOARD_STATUS_LED_GPIO_Port,
                     BOARD_STATUS_LED_Pin);
}

/*
 * FreeRTOS 栈溢出回调。
 * configCHECK_FOR_STACK_OVERFLOW=2 时，检测到任务栈溢出会进入这里。
 * 调试器中查看 marker 和 task_name，即可知道是否溢出以及哪个任务溢出。
 */
void vApplicationStackOverflowHook(TaskHandle_t task_handle,
                                   char *task_name)
{
  (void)task_handle;
  panview_stack_overflow_marker = 0x53544B4FU; /* ASCII: STKO */
  panview_stack_overflow_task_name = task_name;
  __disable_irq();

  while (1)
  {
    /* 故意停在这里，方便调试器定位现场。 */
  }
}

/* USER CODE END Application */
